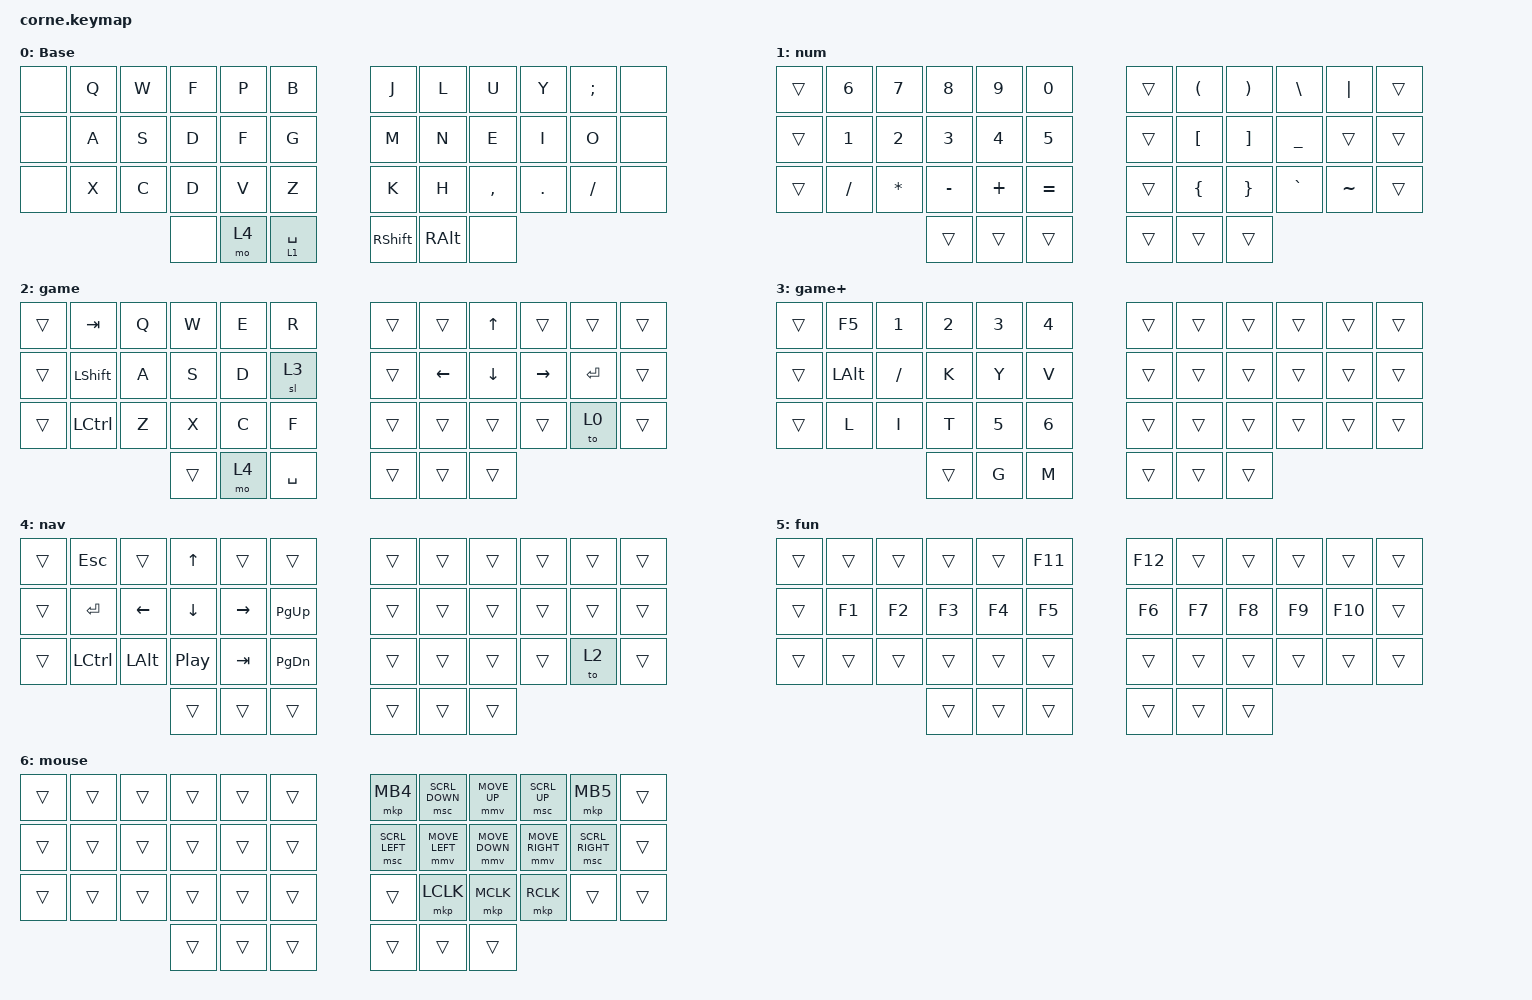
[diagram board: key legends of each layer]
/*
 * Copyright (c) 2020 The ZMK Contributors
 *
 * SPDX-License-Identifier: MIT
 */

#include <behaviors.dtsi>
#include <dt-bindings/zmk/keys.h>
#include <dt-bindings/zmk/pointing.h>

/ {
    combos {
        compatible = "zmk,combos";

        bspc {
            bindings = <&kp BACKSPACE>;
            key-positions = <4 3>;
            layers = <0 1>;
        };

        del {
            bindings = <&kp DEL>;
            key-positions = <2 3>;
            layers = <0 1>;
        };

        del_word {
            bindings = <&kp LC(BACKSPACE)>;
            key-positions = <2 3 4>;
        };

        num5 {
            bindings = <&kp N5>;
            key-positions = <15 14>;
            layers = <1>;
        };

        num0 {
            bindings = <&kp N0>;
            key-positions = <16 15>;
            layers = <1>;
        };

        num_enter {
            bindings = <&kp ENTER>;
            key-positions = <13 14 15 16>;
            layers = <1>;
        };

        mouse {
            bindings = <&mo 6>;
            key-positions = <1 3 2 4>;
            layers = <0>;
        };

        caps_l {
            bindings = <&kp CAPS>;
            key-positions = <25 26 27 28>;
            layers = <0>;
        };

        caps_r {
            bindings = <&kp CAPS>;
            key-positions = <31 32 33 34>;
            layers = <0>;
        };

        vol_up {
            bindings = <&kp C_VOL_UP>;
            key-positions = <28 27>;
            layers = <4>;
        };

        vol_dn {
            bindings = <&kp C_VOL_DN>;
            key-positions = <26 27>;
            layers = <4>;
        };

        fun_l {
            bindings = <&sl 5>;
            key-positions = <16 38>;
            layers = <0>;
        };

        fun_r {
            bindings = <&sl 5>;
            key-positions = <19 39>;
            layers = <0>;
        };

        single_quote {
            bindings = <&kp APOS>;
            key-positions = <8 7>;
            layers = <0>;
        };

        double_quote {
            bindings = <&kp DOUBLE_QUOTES>;
            key-positions = <9 8>;
        };

        screen {
            bindings = <&kp LG(LS(S))>;
            key-positions = <26 27 28>;
            layers = <4>;
        };

        ctrl_c {
            bindings = <&kp LC(C)>;
            key-positions = <26 27>;
            layers = <0>;
        };

        ctrl_v {
            bindings = <&kp LC(V)>;
            key-positions = <28 27>;
            layers = <0>;
        };

        ctrl_x {
            bindings = <&kp LC(X)>;
            key-positions = <25 26>;
        };

        ctrl_z {
            bindings = <&kp LC(Z)>;
            key-positions = <28 29>;
        };

        ctrl_y {
            bindings = <&kp LC(Y)>;
            key-positions = <16 17>;
        };
    };

    keymap {
        compatible = "zmk,keymap";

        base {
            // -----------------------------------------------------------------------------------------
            // |  TAB |  Q  |  W  |  E  |  R  |  T  |   |  Y  |  U   |  I  |  O  |  P  | BKSP |
            // | CTRL |  A  |  S  |  D  |  F  |  G  |   |  H  |  J   |  K  |  L  |  ;  |  '   |
            // | SHFT |  Z  |  X  |  C  |  V  |  B  |   |  N  |  M   |  ,  |  .  |  /  | ESC  |
            //                    | GUI | LWR | SPC |   | ENT | RSE  | ALT |

            display-name = "Base";
            bindings = <
&none  &kp Q  &kp W  &kp F  &kp P  &kp B          &kp J            &kp L          &kp U      &kp Y    &kp SEMICOLON  &none
&none  &kp A  &kp S  &kp D  &kp F  &kp G          &kp M            &kp N          &kp E      &kp I    &kp O          &none
&none  &kp X  &kp C  &kp D  &kp V  &kp Z          &kp K            &kp H          &kp COMMA  &kp DOT  &kp FSLH       &none
                     &none  &mo 4  &lt 1 SPACE    &kp RIGHT_SHIFT  &kp RIGHT_ALT  &none
            >;
        };

        num {
            bindings = <
&trans  &kp N6     &kp N7        &kp N8     &kp N9    &kp N0       &trans  &kp LEFT_PARENTHESIS  &kp RIGHT_PARENTHESIS  &kp BACKSLASH   &kp PIPE   &trans
&trans  &kp N1     &kp N2        &kp N3     &kp N4    &kp N5       &trans  &kp LEFT_BRACKET      &kp RIGHT_BRACKET      &kp UNDERSCORE  &trans     &trans
&trans  &kp SLASH  &kp ASTERISK  &kp MINUS  &kp PLUS  &kp EQUAL    &trans  &kp LEFT_BRACE        &kp RIGHT_BRACE        &kp GRAVE       &kp TILDE  &trans
                                 &trans     &trans    &trans       &trans  &trans                &trans
            >;
        };

        game {
            bindings = <
&trans  &kp TAB           &kp Q  &kp W   &kp E  &kp R        &trans  &trans    &kp UP          &trans     &trans     &trans
&trans  &kp LEFT_SHIFT    &kp A  &kp S   &kp D  &sl 3        &trans  &kp LEFT  &kp DOWN_ARROW  &kp RIGHT  &kp ENTER  &trans
&trans  &kp LEFT_CONTROL  &kp Z  &kp X   &kp C  &kp F        &trans  &trans    &trans          &trans     &to 0      &trans
                                 &trans  &mo 4  &kp SPACE    &trans  &trans    &trans
            >;
        };

        game+ {
            bindings = <
&trans  &kp F5        &kp N1     &kp N2  &kp N3  &kp N4    &trans  &trans  &trans  &trans  &trans  &trans
&trans  &kp LEFT_ALT  &kp SLASH  &kp K   &kp Y   &kp V     &trans  &trans  &trans  &trans  &trans  &trans
&trans  &kp L         &kp I      &kp T   &kp N5  &kp N6    &trans  &trans  &trans  &trans  &trans  &trans
                                 &trans  &kp G   &kp M     &trans  &trans  &trans
            >;
        };

        nav {
            bindings = <
&trans  &kp ESC           &trans          &kp UP            &trans     &trans           &trans  &trans  &trans  &trans  &trans  &trans
&trans  &kp ENTER         &kp LEFT_ARROW  &kp DOWN          &kp RIGHT  &kp PAGE_UP      &trans  &trans  &trans  &trans  &trans  &trans
&trans  &kp LEFT_CONTROL  &kp LEFT_ALT    &kp C_PLAY_PAUSE  &kp TAB    &kp PAGE_DOWN    &trans  &trans  &trans  &trans  &to 2   &trans
                                          &trans            &trans     &trans           &trans  &trans  &trans
            >;
        };

        fun {
            bindings = <
&trans  &trans  &trans  &trans  &trans  &kp F11    &kp F12  &trans  &trans  &trans  &trans   &trans
&trans  &kp F1  &kp F2  &kp F3  &kp F4  &kp F5     &kp F6   &kp F7  &kp F8  &kp F9  &kp F10  &trans
&trans  &trans  &trans  &trans  &trans  &trans     &trans   &trans  &trans  &trans  &trans   &trans
                        &trans  &trans  &trans     &trans   &trans  &trans
            >;
        };

        mouse {
            bindings = <
&trans  &trans  &trans  &trans  &trans  &trans    &mkp MB4        &msc SCRL_DOWN  &mmv MOVE_UP    &msc SCRL_UP     &mkp MB5         &trans
&trans  &trans  &trans  &trans  &trans  &trans    &msc SCRL_LEFT  &mmv MOVE_LEFT  &mmv MOVE_DOWN  &mmv MOVE_RIGHT  &msc SCRL_RIGHT  &trans
&trans  &trans  &trans  &trans  &trans  &trans    &trans          &mkp LCLK       &mkp MCLK       &mkp RCLK        &trans           &trans
                        &trans  &trans  &trans    &trans          &trans          &trans
            >;
        };
    };
};
